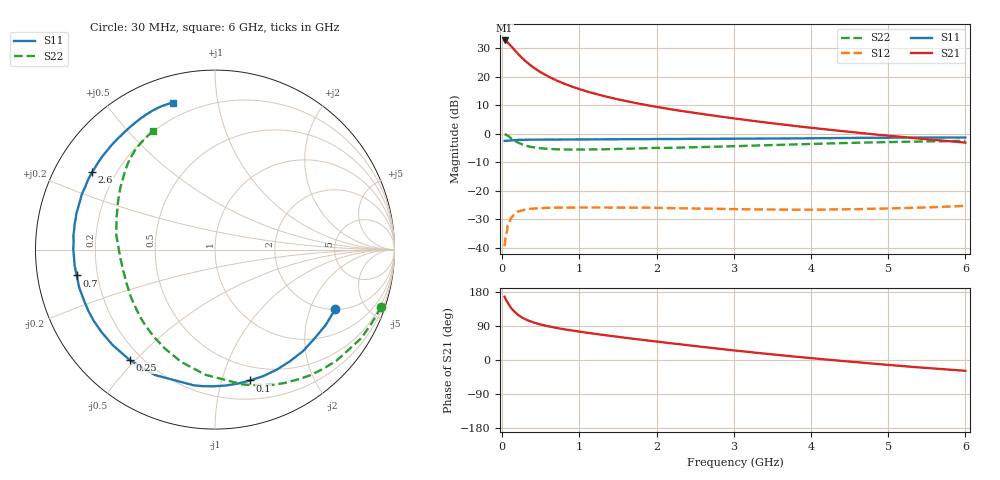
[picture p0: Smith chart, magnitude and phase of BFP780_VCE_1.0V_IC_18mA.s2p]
! Infineon Technologies  Discrete & RF Semiconductors
! BFP780
! VCE =  1.0 V,  IC =  18 mA
! Common Emitter S-Parameters:  Jul 2015
# GHz  S  MA  R  50
!  f  S11  S21  S12  S22
! GHz  MAG  ANG  MAG  ANG  MAG  ANG  MAG  ANG
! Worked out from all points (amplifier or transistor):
!   75 points, 30 MHz to 6 GHz, reference 50 ohm
!   highest |S21| = 32.7 dB at 30 MHz (marker M1)
!   |S21| within 3 dB of that: start of sweep to 147.2 MHz
!   unconditionally stable (mu >= 1): 2.451 GHz to end of sweep
!   at 150 MHz: K = 0.07, MSG = 29.0 dB, |S12| = -28.5 dB
!   at 2.3 GHz: K = 0.95, MSG = 17.1 dB, |S12| = -26.2 dB
!   at 6 GHz: K = 1.82, MAG = 5.9 dB, |S12| = -25.4 dB
!   S11 on the Smith chart (normalised r, x): 30 MHz: 2.03, -3.04; 100 MHz: 0.36, -1.24; 250 MHz: 0.15, -0.48; 700 MHz: 0.12, -0.09; 2.6 GHz: 0.11, +0.29; 6 GHz: 0.12, +0.74
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0.03  0.748 -26.2  42.96 166.8  0.0106 73.7  0.9801 -19.0
0.05  0.7436 -41.9  41.56 158.4  0.0171 71.5  0.9531 -31.1
0.06  0.7487 -49.2  40.51 154.8  0.0193 67.5  0.9309 -36.7
0.08  0.7522 -62.8  38.23 147.8  0.0256 60.1  0.8973 -47.7
0.1  0.7548 -75.0  35.8 141.6  0.0298 52.4  0.8583 -57.4
0.13  0.7615 -90.5  32.35 133.5  0.035 47.1  0.7999 -70.7
0.15  0.7653 -98.9  30.13 129.0  0.0377 42.1  0.7674 -78.3
0.2  0.7748 -115.6  25.37 119.8  0.0426 34.1  0.6994 -94.4
0.25  0.7775 -127.7  21.65 112.9  0.0448 28.3  0.6532 -106.8
0.3  0.7798 -137.0  18.72 107.4  0.0466 23.3  0.6176 -117.0
0.4  0.7835 -149.7  14.58 99.4  0.0484 17.9  0.5757 -131.6
0.5  0.783 -158.1  11.86 93.6  0.0493 13.8  0.5516 -141.9
0.7  0.7838 -169.4  8.571 84.8  0.0502 8.8  0.5301 -155.8
0.9  0.787 -177.1  6.685 77.9  0.0503 5.9  0.5238 -164.9
1.1  0.7888 176.9  5.463 71.9  0.0505 3.6  0.5253 -171.5
1.5  0.7946 167.7  3.981 61.2  0.0503 0.6  0.537 179.0
2.1  0.8035 156.2  2.788 46.3  0.0495 -2.8  0.5602 168.6
2.6  0.8091 147.8  2.196 34.4  0.0483 -4.5  0.5806 160.3
3.1  0.815 139.8  1.775 23.3  0.0471 -4.8  0.6065 152.6
4.1  0.8294 125.6  1.223 3.1  0.0463 -3.3  0.6628 139.3
5.1  0.8491 114.3  0.893 -14.6  0.049 -1.2  0.7129 127.9
6  0.8526 106.1  0.695 -28.6  0.0539 -0.9  0.7449 117.7
